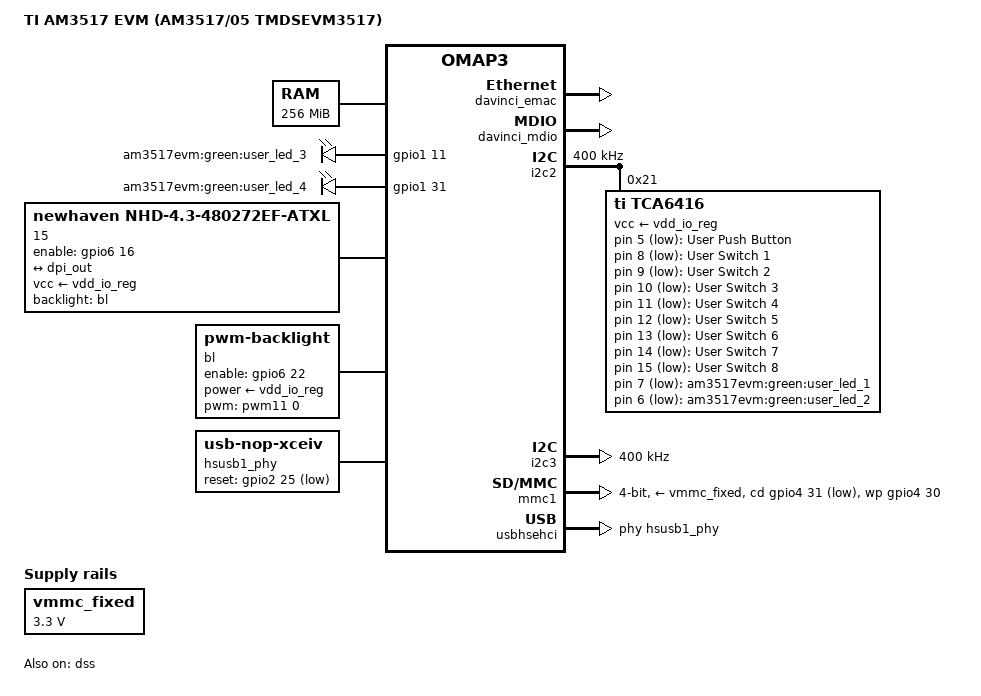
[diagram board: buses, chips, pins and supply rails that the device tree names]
// SPDX-License-Identifier: GPL-2.0-only
/*
 * Copyright (C) 2011 Texas Instruments Incorporated - https://www.ti.com/
 */
/dts-v1/;

#include "am3517.dtsi"
#include "am3517-som.dtsi"
#include "am3517-evm-ui.dtsi"
#include <dt-bindings/input/input.h>

/ {
	model = "TI AM3517 EVM (AM3517/05 TMDSEVM3517)";
	compatible = "ti,am3517-evm", "ti,am3517", "ti,omap3";

	aliases {
		display0 = &lcd0;
	};

	chosen {
		stdout-path = &uart3;
	};

	memory@80000000 {
		device_type = "memory";
		reg = <0x80000000 0x10000000>; /* 256 MB */
	};

        vmmc_fixed: vmmc {
                compatible = "regulator-fixed";
                regulator-name = "vmmc_fixed";
                regulator-min-microvolt = <3300000>;
                regulator-max-microvolt = <3300000>;
        };

	gpio-keys {
		compatible = "gpio-keys-polled";
		poll-interval = <100>;

		user_pb {
			label = "User Push Button";
			linux,code = <BTN_0>;
			gpios = <&tca6416 5 GPIO_ACTIVE_LOW>;
		};

		user_sw_1 {
			label = "User Switch 1";
			linux,code = <BTN_1>;
			gpios = <&tca6416 8 GPIO_ACTIVE_LOW>;
		};

		user_sw_2 {
			label = "User Switch 2";
			linux,code = <BTN_2>;
			gpios = <&tca6416 9 GPIO_ACTIVE_LOW>;
		};

		user_sw_3 {
			label = "User Switch 3";
			linux,code = <BTN_3>;
			gpios = <&tca6416 10 GPIO_ACTIVE_LOW>;
		};

		user_sw_4 {
			label = "User Switch 4";
			linux,code = <BTN_4>;
			gpios = <&tca6416 11 GPIO_ACTIVE_LOW>;
		};

		user_sw_5 {
			label = "User Switch 5";
			linux,code = <BTN_5>;
			gpios = <&tca6416 12 GPIO_ACTIVE_LOW>;
		};

		user_sw_6 {
			label = "User Switch 6";
			linux,code = <BTN_6>;
			gpios = <&tca6416 13 GPIO_ACTIVE_LOW>;
		};

		user_sw_7 {
			label = "User Switch 7";
			linux,code = <BTN_7>;
			gpios = <&tca6416 14 GPIO_ACTIVE_LOW>;
		};

		user_sw_8 {
			label = "User Switch 8";
			linux,code = <BTN_8>;
			gpios = <&tca6416 15 GPIO_ACTIVE_LOW>;
		};
	};

	gpio-leds {
		compatible = "gpio-leds";

		pinctrl-names = "default";
		pinctrl-0 = <&leds_pins>;

		user_led_1 {
			label = "am3517evm:green:user_led_1";
			gpios = <&tca6416 7 GPIO_ACTIVE_LOW>;
			default-state = "on";
		};

		user_led_2 {
			label = "am3517evm:green:user_led_2";
			gpios = <&tca6416 6 GPIO_ACTIVE_LOW>;
			default-state = "on";
		};

		user_led_3 {
			label = "am3517evm:green:user_led_3";
			gpios = <&gpio1 11 GPIO_ACTIVE_HIGH>;
			linux,default-trigger = "mmc0"; /* SD/MMC card activity */
		};

		user_led_4 {
			label = "am3517evm:green:user_led_4";
			gpios = <&gpio1 31 GPIO_ACTIVE_HIGH>;
			linux,default-trigger = "heartbeat";
		};
	};

	lcd0: display@0 {
		/* This isn't the exact LCD, but the timings meet spec */
		/* To make it work, set CONFIG_OMAP2_DSS_MIN_FCK_PER_PCK=4 */
		compatible = "newhaven,nhd-4.3-480272ef-atxl";
		label = "15";
		backlight = <&bl>;
		enable-gpios = <&gpio6 16 GPIO_ACTIVE_HIGH>;	/* gpio176, lcd INI */
		vcc-supply = <&vdd_io_reg>;

		port {
			lcd_in: endpoint {
				remote-endpoint = <&dpi_out>;
			};
		};
	};

	bl: backlight {
		compatible = "pwm-backlight";
		pinctrl-names = "default";
		power-supply = <&vdd_io_reg>;
		pinctrl-0 = <&backlight_pins>;
		pwms = <&pwm11 0 5000000 0>;
		brightness-levels = <0 10 20 30 40 50 60 70 80 90 100>;
		default-brightness-level = <7>;
		enable-gpios = <&gpio6 22 GPIO_ACTIVE_HIGH>; /* gpio_182 */
	};

	pwm11: dmtimer-pwm@11 {
		compatible = "ti,omap-dmtimer-pwm";
		pinctrl-names = "default";
		pinctrl-0 = <&pwm_pins>;
		ti,timers = <&timer11>;
		#pwm-cells = <3>;
		ti,clock-source = <0x01>;
	};

	/* HS USB Host PHY on PORT 1 */
	hsusb1_phy: hsusb1_phy {
		compatible = "usb-nop-xceiv";
		reset-gpios = <&gpio2 25 GPIO_ACTIVE_LOW>; /* gpio_57 */
		#phy-cells = <0>;
	};
};

&davinci_emac {
	     status = "okay";
};

&davinci_mdio {
	     status = "okay";
};

&dss {
	status = "ok";

	pinctrl-names = "default";
	pinctrl-0 = <&dss_dpi_pins>;

	vdds_dsi-supply = <&vdd_io_reg>;
	vdda_video-supply = <&vdd_io_reg>;

	port {
		dpi_out: endpoint {
			remote-endpoint = <&lcd_in>;
			data-lines = <16>;
		};
	};
};

&i2c2 {
	clock-frequency = <400000>;
	/* User DIP swithes [1:8] / User LEDS [1:2] */
	tca6416: gpio@21 {
		compatible = "ti,tca6416";
		reg = <0x21>;
		gpio-controller;
		#gpio-cells = <2>;
		vcc-supply = <&vdd_io_reg>;
	};
};

&i2c3 {
	clock-frequency = <400000>;
};

&mmc1 {
	status = "okay";
	pinctrl-names = "default";
	pinctrl-0 = <&mmc1_pins>;
	vmmc-supply = <&vmmc_fixed>;
	bus-width = <4>;
	wp-gpios = <&gpio4 30 GPIO_ACTIVE_HIGH>; /* gpio_126 */
	cd-gpios = <&gpio4 31 GPIO_ACTIVE_LOW>; /* gpio_127 */
};

&mmc3 {
      status = "disabled";
};

&usbhshost {
	port1-mode = "ehci-phy";
};

&usbhsehci {
	phys = <&hsusb1_phy>;
};

&omap3_pmx_core {
	pinctrl-names = "default";
	pinctrl-0 = <&hsusb1_rst_pins>;

	leds_pins: pinmux_leds_pins {
		pinctrl-single,pins = <
			OMAP3_WKUP_IOPAD(0x2a24, PIN_OUTPUT_PULLUP | MUX_MODE4)	/* jtag_emu0.gpio_11 */
			OMAP3_WKUP_IOPAD(0x2a26, PIN_OUTPUT_PULLUP | MUX_MODE4)	/* jtag_emu1.gpio_31 */
		>;
	};

	mmc1_pins: pinmux_mmc1_pins {
		pinctrl-single,pins = <
			OMAP3_CORE1_IOPAD(0x2144, PIN_INPUT_PULLUP | MUX_MODE0)	/* sdmmc1_clk.sdmmc1_clk */
			OMAP3_CORE1_IOPAD(0x2146, PIN_INPUT_PULLUP | MUX_MODE0)	/* sdmmc1_cmd.sdmmc1_cmd */
			OMAP3_CORE1_IOPAD(0x2148, PIN_INPUT_PULLUP | MUX_MODE0)	/* sdmmc1_dat0.sdmmc1_dat0 */
			OMAP3_CORE1_IOPAD(0x214a, PIN_INPUT_PULLUP | MUX_MODE0)	/* sdmmc1_dat1.sdmmc1_dat1 */
			OMAP3_CORE1_IOPAD(0x214c, PIN_INPUT_PULLUP | MUX_MODE0)	/* sdmmc1_dat2.sdmmc1_dat2 */
			OMAP3_CORE1_IOPAD(0x214e, PIN_INPUT_PULLUP | MUX_MODE0)	/* sdmmc1_dat3.sdmmc1_dat3 */
			OMAP3_CORE1_IOPAD(0x2150, PIN_INPUT_PULLUP | MUX_MODE4) /* sdmmc1_dat4.gpio_126 */
			OMAP3_CORE1_IOPAD(0x2152, PIN_INPUT_PULLUP | MUX_MODE4) /* sdmmc1_dat5.gpio_127 */
		>;
	};

	pwm_pins: pinmux_pwm_pins {
		pinctrl-single,pins = <
			OMAP3_CORE1_IOPAD(0x21dc, PIN_OUTPUT | MUX_MODE1)       /* mcspi2_cs0.gpt11_pwm */
		>;
	};

	backlight_pins: pinmux_backlight_pins {
		pinctrl-single,pins = <
			OMAP3_CORE1_IOPAD(0x21de, PIN_OUTPUT | MUX_MODE4)       /* mcspi2_cs1.gpio_182 */
		>;
	};

	dss_dpi_pins: pinmux_dss_dpi_pins {
		pinctrl-single,pins = <
			OMAP3_CORE1_IOPAD(0x21d2, PIN_OUTPUT | MUX_MODE4)       /* mcspi1_cs2.gpio_176 */
			OMAP3_CORE1_IOPAD(0x20d4, PIN_OUTPUT | MUX_MODE0)       /* dss_pclk.dss_pclk */
			OMAP3_CORE1_IOPAD(0x20d6, PIN_OUTPUT | MUX_MODE0)       /* dss_hsync.dss_hsync */
			OMAP3_CORE1_IOPAD(0x20d8, PIN_OUTPUT | MUX_MODE0)       /* dss_vsync.dss_vsync */
			OMAP3_CORE1_IOPAD(0x20da, PIN_OUTPUT | MUX_MODE0)       /* dss_acbias.dss_acbias */
			OMAP3_CORE1_IOPAD(0x20dc, PIN_OUTPUT | MUX_MODE0)       /* dss_data0.dss_data0 */
			OMAP3_CORE1_IOPAD(0x20de, PIN_OUTPUT | MUX_MODE0)       /* dss_data1.dss_data1 */
			OMAP3_CORE1_IOPAD(0x20e0, PIN_OUTPUT | MUX_MODE0)       /* dss_data2.dss_data2 */
			OMAP3_CORE1_IOPAD(0x20e2, PIN_OUTPUT | MUX_MODE0)       /* dss_data3.dss_data3 */
			OMAP3_CORE1_IOPAD(0x20e4, PIN_OUTPUT | MUX_MODE0)       /* dss_data4.dss_data4 */
			OMAP3_CORE1_IOPAD(0x20e6, PIN_OUTPUT | MUX_MODE0)       /* dss_data5.dss_data5 */
			OMAP3_CORE1_IOPAD(0x20e8, PIN_OUTPUT | MUX_MODE0)       /* dss_data6.dss_data6 */
			OMAP3_CORE1_IOPAD(0x20ea, PIN_OUTPUT | MUX_MODE0)       /* dss_data7.dss_data7 */
			OMAP3_CORE1_IOPAD(0x20ec, PIN_OUTPUT | MUX_MODE0)       /* dss_data8.dss_data8 */
			OMAP3_CORE1_IOPAD(0x20ee, PIN_OUTPUT | MUX_MODE0)       /* dss_data9.dss_data9 */
			OMAP3_CORE1_IOPAD(0x20f0, PIN_OUTPUT | MUX_MODE0)       /* dss_data10.dss_data10 */
			OMAP3_CORE1_IOPAD(0x20f2, PIN_OUTPUT | MUX_MODE0)       /* dss_data11.dss_data11 */
			OMAP3_CORE1_IOPAD(0x20f4, PIN_OUTPUT | MUX_MODE0)       /* dss_data12.dss_data12 */
			OMAP3_CORE1_IOPAD(0x20f6, PIN_OUTPUT | MUX_MODE0)       /* dss_data13.dss_data13 */
			OMAP3_CORE1_IOPAD(0x20f8, PIN_OUTPUT | MUX_MODE0)       /* dss_data14.dss_data14 */
			OMAP3_CORE1_IOPAD(0x20fa, PIN_OUTPUT | MUX_MODE0)       /* dss_data15.dss_data15 */
		>;
	};

	hsusb1_rst_pins: pinmux_hsusb1_rst_pins {
		pinctrl-single,pins = <
			OMAP3_CORE1_IOPAD(0x20ba, PIN_OUTPUT | MUX_MODE4)	/* gpmc_ncs6.gpio_57 */
		>;
	};
};

&omap3_pmx_core2 {
	pinctrl-names = "default";
	pinctrl-0 = <&hsusb1_pins>;

	hsusb1_pins: pinmux_hsusb1_pins {
		pinctrl-single,pins = <
			OMAP3430_CORE2_IOPAD(0x25d8, PIN_OUTPUT | MUX_MODE3)	/* etk_clk.hsusb1_stp */
			OMAP3430_CORE2_IOPAD(0x25da, PIN_OUTPUT | MUX_MODE3)	/* etk_ctl.hsusb1_clk */
			OMAP3430_CORE2_IOPAD(0x25ec, PIN_INPUT | MUX_MODE3)	/* etk_d8.hsusb1_dir */
			OMAP3430_CORE2_IOPAD(0x25ee, PIN_INPUT | MUX_MODE3)	/* etk_d9.hsusb1_nxt */
			OMAP3430_CORE2_IOPAD(0x25dc, PIN_INPUT | MUX_MODE3)	/* etk_d0.hsusb1_data0 */
			OMAP3430_CORE2_IOPAD(0x25de, PIN_INPUT | MUX_MODE3)	/* etk_d1.hsusb1_data1 */
			OMAP3430_CORE2_IOPAD(0x25e0, PIN_INPUT | MUX_MODE3)	/* etk_d2.hsusb1_data2 */
			OMAP3430_CORE2_IOPAD(0x25ea, PIN_INPUT | MUX_MODE3)	/* etk_d7.hsusb1_data3 */
			OMAP3430_CORE2_IOPAD(0x25e4, PIN_INPUT | MUX_MODE3)	/* etk_d4.hsusb1_data4 */
			OMAP3430_CORE2_IOPAD(0x25e6, PIN_INPUT | MUX_MODE3)	/* etk_d5.hsusb1_data5 */
			OMAP3430_CORE2_IOPAD(0x25e8, PIN_INPUT | MUX_MODE3)	/* etk_d6.hsusb1_data6 */
			OMAP3430_CORE2_IOPAD(0x25e2, PIN_INPUT | MUX_MODE3)	/* etk_d3.hsusb1_data7 */
		>;
	};
};
